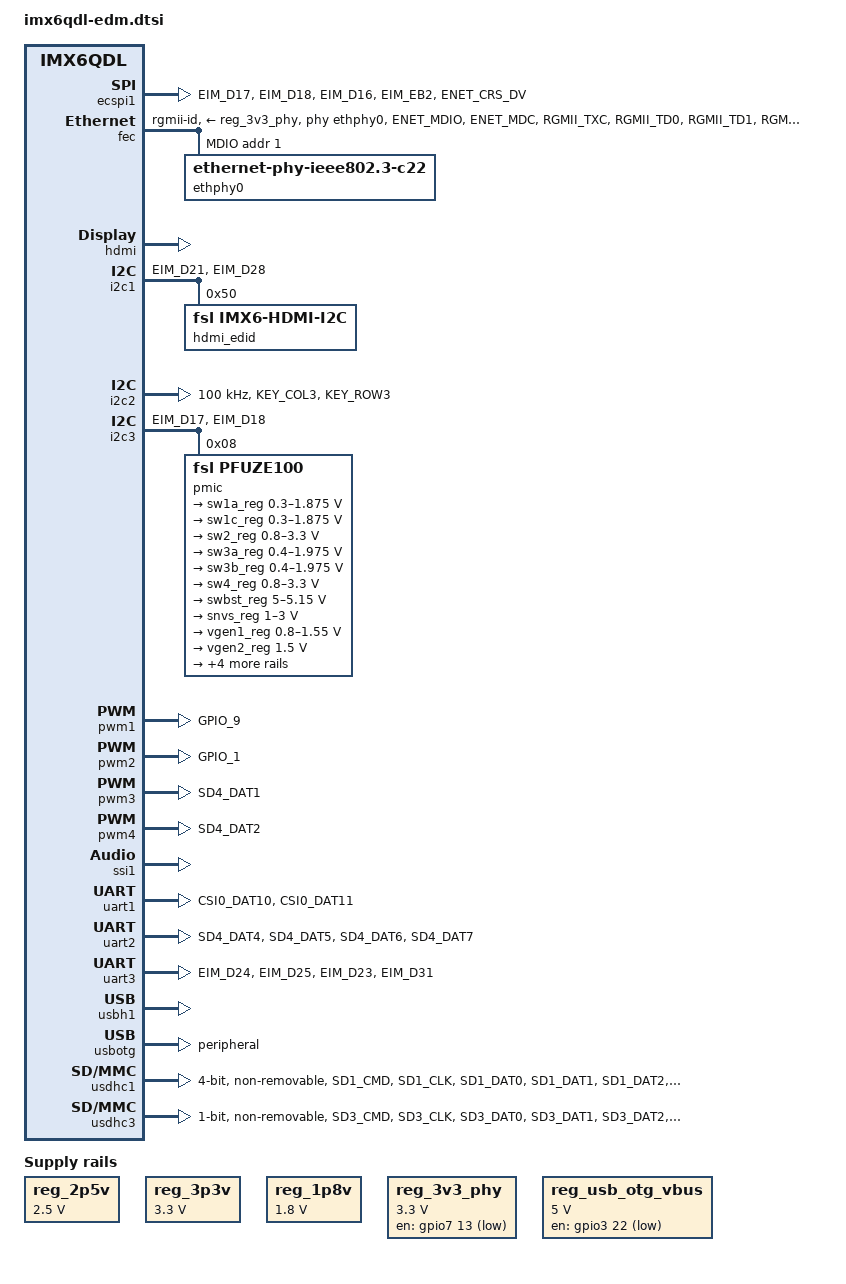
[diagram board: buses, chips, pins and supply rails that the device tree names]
// SPDX-License-Identifier: GPL-2.0
//
// Copyright 2018 Technexion Ltd.
//
// Author: Wig Cheng <wig.cheng@technexion.com>
//         Richard Hu <richard.hu@technexion.com>
//         Tapani Utriainen <tapani@technexion.com>
//         Ray Chang <ray.chang@technexion.com>

#include <dt-bindings/gpio/gpio.h>

/ {
	aliases {
		mmc0 = &usdhc1;
		mmc2 = &usdhc3;
		usb0 = &usbotg;
	};

	chosen {
		stdout-path = &uart1;
	};

	reg_2p5v: regulator-2p5v {
		compatible = "regulator-fixed";
		regulator-name = "2P5V";
		regulator-min-microvolt = <2500000>;
		regulator-max-microvolt = <2500000>;
		regulator-always-on;
	};

	reg_3p3v: regulator-3p3v {
		compatible = "regulator-fixed";
		regulator-name = "3P3V";
		regulator-min-microvolt = <3300000>;
		regulator-max-microvolt = <3300000>;
		regulator-always-on;
	};

	reg_1p8v: regulator-1p8v {
		compatible = "regulator-fixed";
		regulator-name = "1P8V";
		regulator-min-microvolt = <1800000>;
		regulator-max-microvolt = <1800000>;
		regulator-always-on;
	};

	reg_3v3_phy: regulator-3p3v-phy {
		compatible = "regulator-fixed";
		regulator-name = "3V3_ETN";
		regulator-min-microvolt = <3300000>;
		regulator-max-microvolt = <3300000>;
		gpio = <&gpio7 13 GPIO_ACTIVE_LOW>;
	};

	reg_usb_otg_vbus: regulator-usb-otg-vbus {
		compatible = "regulator-fixed";
		regulator-name = "usb_otg_vbus";
		regulator-min-microvolt = <5000000>;
		regulator-max-microvolt = <5000000>;
		gpio = <&gpio3 22 GPIO_ACTIVE_LOW>;
	};
};

&gpio2 {
	bootph-all;
};

&audmux {
	pinctrl-names = "default";
	pinctrl-0 = <&pinctrl_audmux>;
	status = "disabled";
};

&can1 {
	pinctrl-names = "default";
	pinctrl-0 = <&pinctrl_flexcan1>;
	status = "disabled";
};

&can2 {
	pinctrl-names = "default";
	pinctrl-0 = <&pinctrl_flexcan2>;
	status = "disabled";
};

&clks {
	assigned-clocks = <&clks IMX6QDL_CLK_LDB_DI0_SEL>,
			  <&clks IMX6QDL_CLK_LDB_DI1_SEL>;
	assigned-clock-parents = <&clks IMX6QDL_CLK_PLL3_USB_OTG>,
				 <&clks IMX6QDL_CLK_PLL3_USB_OTG>;
};

&ecspi1 {
	fsl,spi-num-chipselects = <2>;
	pinctrl-names = "default";
	pinctrl-0 = <&pinctrl_ecspi1>;
	cs-gpios = <&gpio2 30 GPIO_ACTIVE_HIGH>, <&gpio1 25 GPIO_ACTIVE_HIGH>;
	status = "okay";
};

&fec {
	pinctrl-names = "default";
	pinctrl-0 = <&pinctrl_enet>;
	phy-handle = <&ethphy0>;
	phy-mode = "rgmii-id";
	phy-supply = <&reg_3v3_phy>;
	phy-reset-duration = <35>;
	phy-reset-post-delay = <75>;
	phy-reset-gpios = <&gpio3 29 GPIO_ACTIVE_LOW>;
	status = "okay";

	mdio {
		#address-cells = <1>;
		#size-cells = <0>;

		ethphy0: ethernet-phy@0 {
			compatible = "ethernet-phy-ieee802.3-c22";
			reg = <1>;
		};
	};
};

&hdmi {
	ddc-i2c-bus = <&i2c1>;
	status = "okay";
};

&i2c1 {
	pinctrl-names = "default";
	pinctrl-0 = <&pinctrl_i2c1>;
	status = "okay";

	hdmi_edid: edid@50 {
		compatible = "fsl,imx6-hdmi-i2c";
		reg = <0x50>;
	};
};

&i2c2 {
	clock-frequency = <100000>;
	pinctrl-names = "default";
	pinctrl-0 = <&pinctrl_i2c2>;
	status = "okay";
};

&i2c3 {
	pinctrl-names = "default";
	pinctrl-0 = <&pinctrl_i2c3>;
	status = "okay";

	pmic: pfuze100@08 {
		compatible = "fsl,pfuze100";
		reg = <0x08>;

		regulators {
			sw1a_reg: sw1ab {
				regulator-min-microvolt = <300000>;
				regulator-max-microvolt = <1875000>;
				regulator-boot-on;
				regulator-always-on;
				regulator-ramp-delay = <6250>;
			};

			sw1c_reg: sw1c {
				regulator-min-microvolt = <300000>;
				regulator-max-microvolt = <1875000>;
				regulator-boot-on;
				regulator-always-on;
				regulator-ramp-delay = <6250>;
			};

			sw2_reg: sw2 {
				regulator-min-microvolt = <800000>;
				regulator-max-microvolt = <3300000>;
				regulator-boot-on;
				regulator-always-on;
				regulator-ramp-delay = <6250>;
			};

			sw3a_reg: sw3a {
				regulator-min-microvolt = <400000>;
				regulator-max-microvolt = <1975000>;
				regulator-boot-on;
				regulator-always-on;
			};

			sw3b_reg: sw3b {
				regulator-min-microvolt = <400000>;
				regulator-max-microvolt = <1975000>;
				regulator-boot-on;
				regulator-always-on;
			};

			sw4_reg: sw4 {
				regulator-min-microvolt = <800000>;
				regulator-max-microvolt = <3300000>;
			};

			swbst_reg: swbst {
				regulator-min-microvolt = <5000000>;
				regulator-max-microvolt = <5150000>;
			};

			snvs_reg: vsnvs {
				regulator-min-microvolt = <1000000>;
				regulator-max-microvolt = <3000000>;
				regulator-boot-on;
				regulator-always-on;
			};

			vref_reg: vrefddr {
				regulator-boot-on;
				regulator-always-on;
			};

			vgen1_reg: vgen1 {
				regulator-min-microvolt = <800000>;
				regulator-max-microvolt = <1550000>;
			};

			vgen2_reg: vgen2 {
				regulator-min-microvolt = <1500000>;
				regulator-max-microvolt = <1500000>;
				regulator-boot-on;
				regulator-always-on;
			};

			vgen3_reg: vgen3 {
				regulator-min-microvolt = <1800000>;
				regulator-max-microvolt = <3300000>;
				regulator-always-on;
			};

			vgen4_reg: vgen4 {
				regulator-min-microvolt = <1800000>;
				regulator-max-microvolt = <3300000>;
				regulator-always-on;
			};

			vgen5_reg: vgen5 {
				regulator-min-microvolt = <1800000>;
				regulator-max-microvolt = <3300000>;
				regulator-always-on;
			};

			vgen6_reg: vgen6 {
				regulator-min-microvolt = <1800000>;
				regulator-max-microvolt = <3300000>;
				regulator-always-on;
			};
		};
	};
};

&pcie {
	pinctrl-names = "default";
	pinctrl-0 = <&pinctrl_pcie_reset>;
	reset-gpio = <&gpio5 21 GPIO_ACTIVE_LOW>;
	status = "disabled";
};

&pwm1 {
	pinctrl-names = "default";
	pinctrl-0 = <&pinctrl_pwm1>;
	status = "okay";
};

&pwm2 {
	pinctrl-names = "default";
	pinctrl-0 = <&pinctrl_pwm2>;
	status = "okay";
};

&pwm3 {
	pinctrl-names = "default";
	pinctrl-0 = <&pinctrl_pwm3>;
	status = "okay";
};

&pwm4 {
	pinctrl-names = "default";
	pinctrl-0 = <&pinctrl_pwm4>;
	status = "okay";
};

&ssi1 {
	status = "okay";
};

&uart1 {
	pinctrl-names = "default";
	pinctrl-0 = <&pinctrl_uart1>;
	status = "okay";
};

&uart2 {  /* Bluetooth module */
	pinctrl-names = "default";
	pinctrl-0 = <&pinctrl_uart2>;
	fsl,uart-has-rtscts;
	status = "okay";
};

&uart3 {
	pinctrl-names = "default";
	pinctrl-0 = <&pinctrl_uart3>;
	fsl,uart-has-rtscts;
	status = "okay";
};

&usbh1 {
	status = "okay";
};

&usbotg {
	dr_mode = "peripheral";
	status = "okay";
};

&usdhc1 {
	pinctrl-names = "default";
	pinctrl-0 = <&pinctrl_usdhc1>;
	bus-width = <4>;
	no-1-8-v;
	non-removable;
	status = "okay";
};

&usdhc2 {  /* Wifi/BT  */
	pinctrl-names = "default";
	pinctrl-0 = <&pinctrl_usdhc2>;
	bus-width = <4>;
	no-1-8-v;
	keep-power-in-suspend;
	non-removable;
	status = "disabled";
};

&usdhc3 {
	pinctrl-names = "default";
	pinctrl-0 = <&pinctrl_usdhc3>;
	bus-width = <1>;
	no-1-8-v;
	non-removable;
	status = "okay";
};

&iomuxc {
	pinctrl-names = "default";
	pinctrl-0 = <&pinctrl_hog>;

	pinctrl_hog: hoggrp {
		fsl,pins = <
			MX6QDL_PAD_EIM_D22__USB_OTG_PWR			0x80000000	/* USB Power Enable */
			MX6QDL_PAD_GPIO_4__GPIO1_IO04			0x4001b0b5	/* GPIO1_04 EDM pin 263 touch irq */
			MX6QDL_PAD_SD3_RST__GPIO7_IO08			0x4001b0b5	/* GPIO7_08 EDM pin 264, touch reset */
			MX6QDL_PAD_CSI0_DAT13__GPIO5_IO31		0x4001b0b5	/* GPIO5_31 LVDS POWER */
			MX6QDL_PAD_GPIO_17__GPIO7_IO12			0x4001b0b5	/* GPIO7_12 USB Hub reset*/
			MX6QDL_PAD_EIM_BCLK__GPIO6_IO31			0x4001b0b5	/* GPIO6_31 EDM pin 260 */
			MX6QDL_PAD_EIM_D26__GPIO3_IO26			0x4001b0b5	/* GPIO3_26 EDM pin 259 */
			MX6QDL_PAD_ENET_RX_ER__GPIO1_IO24		0x4001b0b5	/* GPIO1_24 EDM pin 262 */
			MX6QDL_PAD_EIM_EB0__GPIO2_IO28			0x4001b0b5
			MX6QDL_PAD_GPIO_18__GPIO7_IO13			0x1b0b0
			MX6QDL_PAD_EIM_D22__GPIO3_IO22			0x1b0b0
		>;
	};

	pinctrl_audmux: audmuxgrp {
		fsl,pins = <
			MX6QDL_PAD_CSI0_DAT7__AUD3_RXD		0x130b0
			MX6QDL_PAD_CSI0_DAT4__AUD3_TXC		0x130b0
			MX6QDL_PAD_CSI0_DAT5__AUD3_TXD		0x110b0
			MX6QDL_PAD_CSI0_DAT6__AUD3_TXFS		0x130b0
		>;
	};

	pinctrl_ecspi1: ecspi1grp {
		fsl,pins = <
			MX6QDL_PAD_EIM_D17__ECSPI1_MISO 0x100b1
			MX6QDL_PAD_EIM_D18__ECSPI1_MOSI 0x100b1
			MX6QDL_PAD_EIM_D16__ECSPI1_SCLK 0x100b1
			MX6QDL_PAD_EIM_EB2__GPIO2_IO30  0x000f0b0 /* cs0 */
			MX6QDL_PAD_ENET_CRS_DV__GPIO1_IO25 0x000f0b0 /* cs1 */
		>;
	};

	pinctrl_enet: enetgrp {
		fsl,pins = <
			MX6QDL_PAD_ENET_MDIO__ENET_MDIO		0x1b0b0
			MX6QDL_PAD_ENET_MDC__ENET_MDC		0x1b0b0
			MX6QDL_PAD_RGMII_TXC__RGMII_TXC		0x1b0b0
			MX6QDL_PAD_RGMII_TD0__RGMII_TD0		0x1b0b0
			MX6QDL_PAD_RGMII_TD1__RGMII_TD1		0x1b0b0
			MX6QDL_PAD_RGMII_TD2__RGMII_TD2		0x1b0b0
			MX6QDL_PAD_RGMII_TD3__RGMII_TD3		0x1b0b0
			MX6QDL_PAD_RGMII_TX_CTL__RGMII_TX_CTL	0x1b0b0
			MX6QDL_PAD_ENET_REF_CLK__ENET_TX_CLK	0x1b0b0
			MX6QDL_PAD_RGMII_RXC__RGMII_RXC		0x1b0b0
			MX6QDL_PAD_RGMII_RD0__RGMII_RD0		0x1b0b0
			MX6QDL_PAD_RGMII_RD1__RGMII_RD1		0x1b0b0
			MX6QDL_PAD_RGMII_RD2__RGMII_RD2		0x1b0b0
			MX6QDL_PAD_RGMII_RD3__RGMII_RD3		0x1b0b0
			MX6QDL_PAD_RGMII_RX_CTL__RGMII_RX_CTL	0x1b0b0
			MX6QDL_PAD_ENET_TX_EN__ENET_TX_EN	0x1b0b0
			MX6QDL_PAD_EIM_D29__GPIO3_IO29		0x1f0b1
		>;
	};

	pinctrl_flexcan1: flexcan1grp {
		fsl,pins = <
			MX6QDL_PAD_KEY_COL2__FLEXCAN1_TX	0x1b0b0
			MX6QDL_PAD_KEY_ROW2__FLEXCAN1_RX	0x1b0b0
		>;
	};

	pinctrl_flexcan2: flexcan2grp {
		fsl,pins = <
			MX6QDL_PAD_KEY_COL4__FLEXCAN2_TX	0x1b0b0
			MX6QDL_PAD_KEY_ROW4__FLEXCAN2_RX	0x1b0b0
		>;
	};

	pinctrl_i2c1: i2c1grp {
		fsl,pins = <
			MX6QDL_PAD_EIM_D21__I2C1_SCL		0x4001b8b1
			MX6QDL_PAD_EIM_D28__I2C1_SDA		0x4001b8b1
		>;
	};

	pinctrl_i2c2: i2c2grp {
		fsl,pins = <
			MX6QDL_PAD_KEY_COL3__I2C2_SCL		0x4001b8b1
			MX6QDL_PAD_KEY_ROW3__I2C2_SDA		0x4001b8b1
		>;
	};

	pinctrl_i2c3: i2c3grp {
		fsl,pins = <
			MX6QDL_PAD_EIM_D17__I2C3_SCL		0x4001b8b1
			MX6QDL_PAD_EIM_D18__I2C3_SDA		0x4001b8b1
		>;
	};

	pinctrl_pcie_reset: pciegrp {
		fsl,pins = <
			MX6QDL_PAD_CSI0_VSYNC__GPIO5_IO21	0x130b0
		>;
	};

	pinctrl_pwm1: pwm1grp {
		fsl,pins = <
			MX6QDL_PAD_GPIO_9__PWM1_OUT		0x1b0b1
		>;
	};

	pinctrl_pwm2: pwm2grp {
		fsl,pins = <
			MX6QDL_PAD_GPIO_1__PWM2_OUT		0x1b0b1
		>;
	};

	pinctrl_pwm3: pwm3grp {
		fsl,pins = <
			MX6QDL_PAD_SD4_DAT1__PWM3_OUT		0x1b0b1
		>;
	};

	pinctrl_pwm4: pwm4grp {
		fsl,pins = <
			MX6QDL_PAD_SD4_DAT2__PWM4_OUT		0x1b0b1
		>;
	};

	pinctrl_uart1: uart1grp {
		fsl,pins = <
			MX6QDL_PAD_CSI0_DAT10__UART1_TX_DATA	0x1b0b1
			MX6QDL_PAD_CSI0_DAT11__UART1_RX_DATA	0x1b0b1
		>;
	};

	pinctrl_uart2: uart2grp {
		fsl,pins = <
			MX6QDL_PAD_SD4_DAT4__UART2_RX_DATA	0x1b0b1
			MX6QDL_PAD_SD4_DAT5__UART2_RTS_B	0x1b0b1
			MX6QDL_PAD_SD4_DAT6__UART2_CTS_B	0x1b0b1
			MX6QDL_PAD_SD4_DAT7__UART2_TX_DATA	0x1b0b1
		>;
	};

	pinctrl_uart3: uart3grp {
		fsl,pins = <
			MX6QDL_PAD_EIM_D24__UART3_TX_DATA	0x1b0b1
			MX6QDL_PAD_EIM_D25__UART3_RX_DATA	0x1b0b1
			MX6QDL_PAD_EIM_D23__UART3_CTS_B		0x1b0b1
			MX6QDL_PAD_EIM_D31__UART3_RTS_B		0x1b0b1
		>;
	};

	pinctrl_usbotg: usbotggrp {
		fsl,pins = <
			MX6QDL_PAD_ENET_RX_ER__USB_OTG_ID	0x17059
		>;
	};

	pinctrl_usdhc1: usdhc1grp {
		fsl,pins = <
			MX6QDL_PAD_SD1_CMD__SD1_CMD		0x17071
			MX6QDL_PAD_SD1_CLK__SD1_CLK		0x17071
			MX6QDL_PAD_SD1_DAT0__SD1_DATA0		0x17071
			MX6QDL_PAD_SD1_DAT1__SD1_DATA1		0x17071
			MX6QDL_PAD_SD1_DAT2__SD1_DATA2		0x17071
			MX6QDL_PAD_SD1_DAT3__SD1_DATA3		0x17071
			MX6QDL_PAD_GPIO_2__GPIO1_IO02		0x1b0b0
		>;
	};

	pinctrl_usdhc2: usdhc2grp {
		fsl,pins = <
			MX6QDL_PAD_SD2_CMD__SD2_CMD		0x17059
			MX6QDL_PAD_SD2_CLK__SD2_CLK		0x10059
			MX6QDL_PAD_SD2_DAT0__SD2_DATA0		0x17059
			MX6QDL_PAD_SD2_DAT1__SD2_DATA1		0x17059
			MX6QDL_PAD_SD2_DAT2__SD2_DATA2		0x17059
			MX6QDL_PAD_SD2_DAT3__SD2_DATA3		0x17059
		>;
	};

	pinctrl_usdhc3: usdhc3grp {
		fsl,pins = <
			MX6QDL_PAD_SD3_CMD__SD3_CMD		0x17059
			MX6QDL_PAD_SD3_CLK__SD3_CLK		0x10059
			MX6QDL_PAD_SD3_DAT0__SD3_DATA0		0x17059
			MX6QDL_PAD_SD3_DAT1__SD3_DATA1		0x17059
			MX6QDL_PAD_SD3_DAT2__SD3_DATA2		0x17059
			MX6QDL_PAD_SD3_DAT3__SD3_DATA3		0x17059
			MX6QDL_PAD_EIM_DA9__GPIO3_IO09		0xb0b1
			MX6QDL_PAD_SD3_DAT4__SD3_DATA4		0x17059
			MX6QDL_PAD_SD3_DAT5__SD3_DATA5		0x17059
			MX6QDL_PAD_SD3_DAT6__SD3_DATA6		0x17059
			MX6QDL_PAD_SD3_DAT7__SD3_DATA7		0x17059
		>;
	};
};
